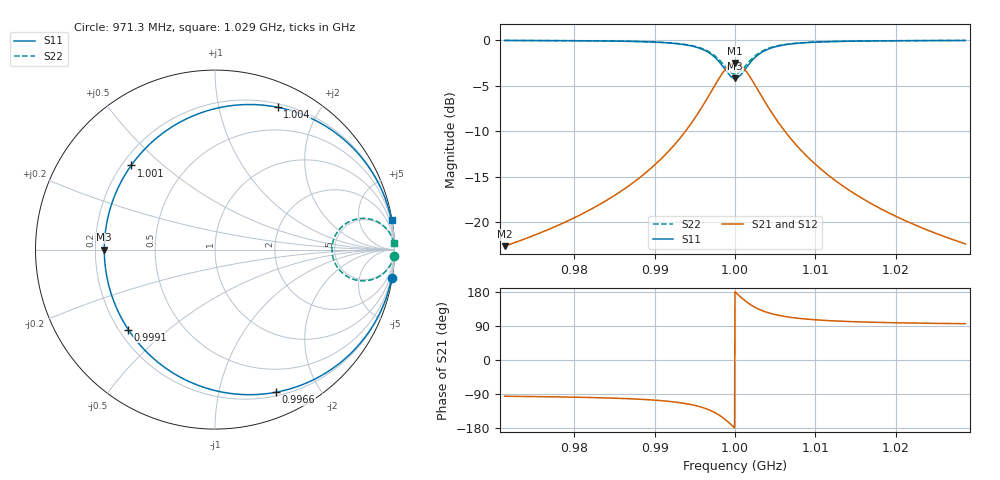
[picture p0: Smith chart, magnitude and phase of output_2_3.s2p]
! File generated for n1 = 2, n2 = 3
! b1 = 46.415888
! b2 = 10.000000
! Q0 = 10000.000000
! f0 = 1000000000.000000
! n = 1001
! rel_span = 10.000000
# Hz S RI R 50
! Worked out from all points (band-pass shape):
!   1001 points, 971.3 MHz to 1.029 GHz, reference 50 ohm
!   highest |S21| = -2.49 dB at 1 GHz (marker M1); lowest = -22.7 dB at 971.3 MHz (marker M2)
!   |S21| within 3 dB of the highest: 997.1 MHz to 1.003 GHz (5.728 MHz wide, 0.573 % of centre)
!   lowest |S11| = -4.2 dB at 1 GHz (marker M3), VSWR 4.22, Z = 11.8 + j0 ohm
!   |S11| at or under -10 dB: nowhere
!   |S22| runs from -3.7 to 0.0 dB; largest |S21 - S12| = 0
!   S11 on the Smith chart (normalised r, x): 971.3 MHz: 0, -13; 996.6 MHz: 0.24, -1.49; 999.1 MHz: 0.24, -0.37; 1.001 GHz: 0.24, +0.40; 1.004 GHz: 0.24, +1.51; 1.029 GHz: 0, +12
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9.712921e8  0.9845 -0.1578  -0.00722 -0.0732  -0.00722 -0.0732  0.9966 -0.034
9.808805e8  0.965 -0.2352  -0.0162 -0.1092  -0.0162 -0.1092  0.9925 -0.0507
9.86335e8  0.9326 -0.3233  -0.0313 -0.15  -0.0313 -0.15  0.9855 -0.0696
9.90469e8  0.8667 -0.4447  -0.0619 -0.2064  -0.0619 -0.2064  0.9713 -0.0958
9.941436e8  0.6882 -0.6379  -0.1447 -0.2961  -0.1447 -0.2961  0.9328 -0.1374
9.954641e8  0.5391 -0.7299  -0.2139 -0.3388  -0.2139 -0.3388  0.9007 -0.1573
9.96555e8  0.3387 -0.7949  -0.3069 -0.369  -0.3069 -0.369  0.8575 -0.1713
9.979904e8  -0.0844 -0.7598  -0.5033 -0.3527  -0.5033 -0.3527  0.7664 -0.1637
9.985646e8  -0.2931 -0.647  -0.6002 -0.3003  -0.6002 -0.3003  0.7214 -0.1394
9.991388e8  -0.4832 -0.4452  -0.6885 -0.2066  -0.6885 -0.2066  0.6804 -0.0959
1e9  -0.6168 0  -0.7505 0  -0.7505 0  0.6517 0
1.000459e9  -0.5765 0.2522  -0.7317 0.1171  -0.7317 0.1171  0.6604 0.0543
1.000919e9  -0.4668 0.4692  -0.6808 0.2178  -0.6808 0.2178  0.684 0.1011
1.001435e9  -0.2938 0.6465  -0.6005 0.3001  -0.6005 0.3001  0.7213 0.1393
1.00201e9  -0.0858 0.7593  -0.504 0.3524  -0.504 0.3524  0.7661 0.1636
1.002641e9  0.1233 0.8055  -0.4069 0.3739  -0.4069 0.3739  0.8111 0.1735
1.003502e9  0.3489 0.793  -0.3022 0.3681  -0.3022 0.3681  0.8597 0.1708
1.004593e9  0.5443 0.7274  -0.2115 0.3376  -0.2115 0.3376  0.9018 0.1567
1.005914e9  0.6902 0.6363  -0.1438 0.2954  -0.1438 0.2954  0.9333 0.1371
1.009588e9  0.8658 0.446  -0.0623 0.207  -0.0623 0.207  0.9711 0.0961
1.019177e9  0.9639 0.2389  -0.0168 0.1109  -0.0168 0.1109  0.9922 0.0515
1.028708e9  0.9835 0.1623  -0.00764 0.0753  -0.00764 0.0753  0.9965 0.035
